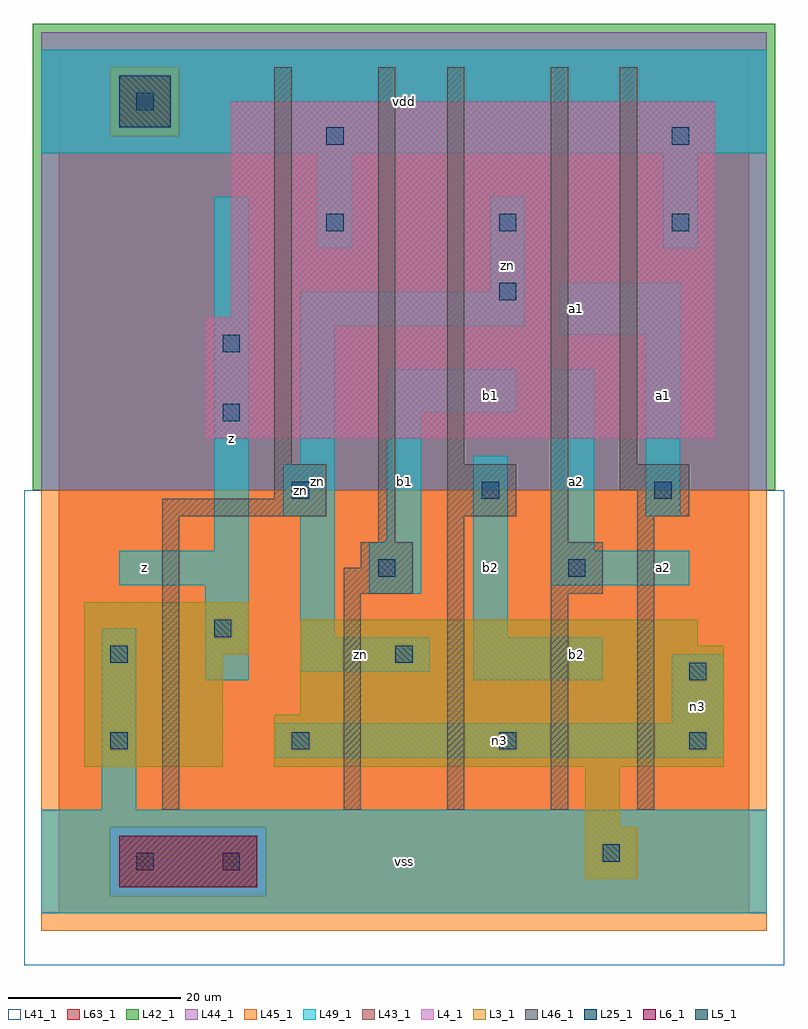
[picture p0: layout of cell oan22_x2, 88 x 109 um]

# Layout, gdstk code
import gdstk
lib = gdstk.Library(unit=1e-6, precision=1e-09)
def R(c, l, rs):  # rectangles x0, y0, x1, y1
    for r in rs: c.add(gdstk.rectangle(r[:2], r[2:], *l))
def A(c, l, x, y, w, h, nx, ny, dx, dy):  # array of equal rectangles
    R(c, l, [(x+i*dx, y+j*dy, x+i*dx+w, y+j*dy+h) for i in range(nx) for j in range(ny)])
L3_1 = (3, 1)
L4_1 = (4, 1)
L5_1 = (5, 1)
L6_1 = (6, 1)
L25_1 = (25, 1)
L41_1 = (41, 1)
L42_1 = (42, 1)
L43_1 = (43, 1)
L44_1 = (44, 1)
L45_1 = (45, 1)
L46_1 = (46, 1)
L49_1 = (49, 1)
L63_1 = (63, 1)

oan22_x2 = lib.new_cell('oan22_x2')
R(oan22_x2, L3_1, [(61,4,67,10), (61,10,65,17), (3,17,19,30), (25,17,77,23), (28,23,77,31), (3,30,22,36), (28,31,74,34)])
R(oan22_x2, L4_1, [(17,55,76,69), (20,69,76,94)])
R(oan22_x2, L5_1, [(7,91,13,97)])
R(oan22_x2, L6_1, [(7,3,23,9)])
A(oan22_x2, L25_1, 31, 79, 2, 2, 3, 1, 20, 0)
R(oan22_x2, L25_1, [(9,5,11,7), (19,5,21,7), (63,6,65,8), (6,19,8,21), (27,19,29,21), (51,19,53,21), (73,19,75,21), (73,27,75,29), (6,29,8,31), (39,29,41,31), (18,32,20,34), (37,39,39,41), (59,39,61,41), (27,48,29,50), (49,48,51,50), (69,48,71,50), (19,57,21,59), (19,65,21,67), (51,71,53,73), (31,89,33,91), (71,89,73,91), (9,93,11,95)])
R(oan22_x2, L41_1, [(-4,-6,84,49), (-3,-3,83,49)])
R(oan22_x2, L42_1, [(-3,49,83,103)])
R(oan22_x2, L43_1, [(7,3,23,9), (61,4,67,10), (61,10,65,17), (3,17,19,30), (25,17,77,23), (28,23,77,31), (3,30,22,36), (28,31,74,34), (17,55,76,69), (20,69,76,94), (7,91,13,97)])
R(oan22_x2, L44_1, [(6,2,24,10), (-2,49,82,90), (-2,90,6,98), (14,90,82,98), (-2,98,82,102)])
R(oan22_x2, L45_1, [(-2,-2,82,2), (-2,2,6,10), (24,2,82,10), (-2,10,82,49), (6,90,14,98)])
A(oan22_x2, L46_1, 25, 52, 2, 46, 3, 1, 20, 0)
R(oan22_x2, L46_1, [(12,12,14,46), (33,12,35,37), (45,12,47,46), (57,12,59,37), (67,12,69,46), (33,37,41,40), (57,37,63,43), (35,40,41,43), (37,43,39,98), (57,43,59,98), (12,46,31,48), (45,46,53,52), (67,46,73,49), (25,48,31,52), (65,49,73,52)])
R(oan22_x2, L49_1, [(-2,0,82,12), (5,12,9,33), (25,18,77,22), (71,22,77,30), (17,27,22,38), (48,27,63,32), (28,28,43,32), (28,32,32,46), (48,32,52,53), (36,37,42,43), (7,38,22,42), (57,38,73,42), (18,42,22,83), (57,42,62,63), (38,43,42,58), (26,46,32,52), (68,46,72,67), (28,52,32,68), (38,58,53,63), (58,67,72,73), (28,68,54,72), (50,72,54,83), (30,77,34,88), (70,77,74,88), (-2,88,82,100)])
R(oan22_x2, L63_1, [(0,0,80,100)])
oan22_x2.add(gdstk.Label('zn', (28,49), layer=49, texttype=1))
oan22_x2.add(gdstk.Label('z', (10,40), layer=49, texttype=1))
oan22_x2.add(gdstk.Label('z', (10,40), layer=49, texttype=1))
oan22_x2.add(gdstk.Label('z', (20,55), layer=49, texttype=1))
oan22_x2.add(gdstk.Label('z', (20,55), layer=49, texttype=1))
oan22_x2.add(gdstk.Label('vss', (40,6), layer=49, texttype=1))
oan22_x2.add(gdstk.Label('vss', (40,6), layer=49, texttype=1))
oan22_x2.add(gdstk.Label('zn', (35,30), layer=49, texttype=1))
oan22_x2.add(gdstk.Label('b1', (40,50), layer=49, texttype=1))
oan22_x2.add(gdstk.Label('b1', (40,50), layer=49, texttype=1))
oan22_x2.add(gdstk.Label('zn', (30,50), layer=49, texttype=1))
oan22_x2.add(gdstk.Label('vdd', (40,94), layer=49, texttype=1))
oan22_x2.add(gdstk.Label('vdd', (40,94), layer=49, texttype=1))
oan22_x2.add(gdstk.Label('b2', (60,30), layer=49, texttype=1))
oan22_x2.add(gdstk.Label('b2', (60,30), layer=49, texttype=1))
oan22_x2.add(gdstk.Label('b2', (50,40), layer=49, texttype=1))
oan22_x2.add(gdstk.Label('b2', (50,40), layer=49, texttype=1))
oan22_x2.add(gdstk.Label('a2', (60,50), layer=49, texttype=1))
oan22_x2.add(gdstk.Label('a2', (60,50), layer=49, texttype=1))
oan22_x2.add(gdstk.Label('b1', (50,60), layer=49, texttype=1))
oan22_x2.add(gdstk.Label('b1', (50,60), layer=49, texttype=1))
oan22_x2.add(gdstk.Label('a1', (60,70), layer=49, texttype=1))
oan22_x2.add(gdstk.Label('a1', (60,70), layer=49, texttype=1))
oan22_x2.add(gdstk.Label('zn', (52,75), layer=49, texttype=1))
oan22_x2.add(gdstk.Label('n3', (74,24), layer=49, texttype=1))
oan22_x2.add(gdstk.Label('n3', (51,20), layer=49, texttype=1))
oan22_x2.add(gdstk.Label('a2', (70,40), layer=49, texttype=1))
oan22_x2.add(gdstk.Label('a2', (70,40), layer=49, texttype=1))
oan22_x2.add(gdstk.Label('a1', (70,60), layer=49, texttype=1))
oan22_x2.add(gdstk.Label('a1', (70,60), layer=49, texttype=1))

lib.write_gds('oan22_x2.gds')
